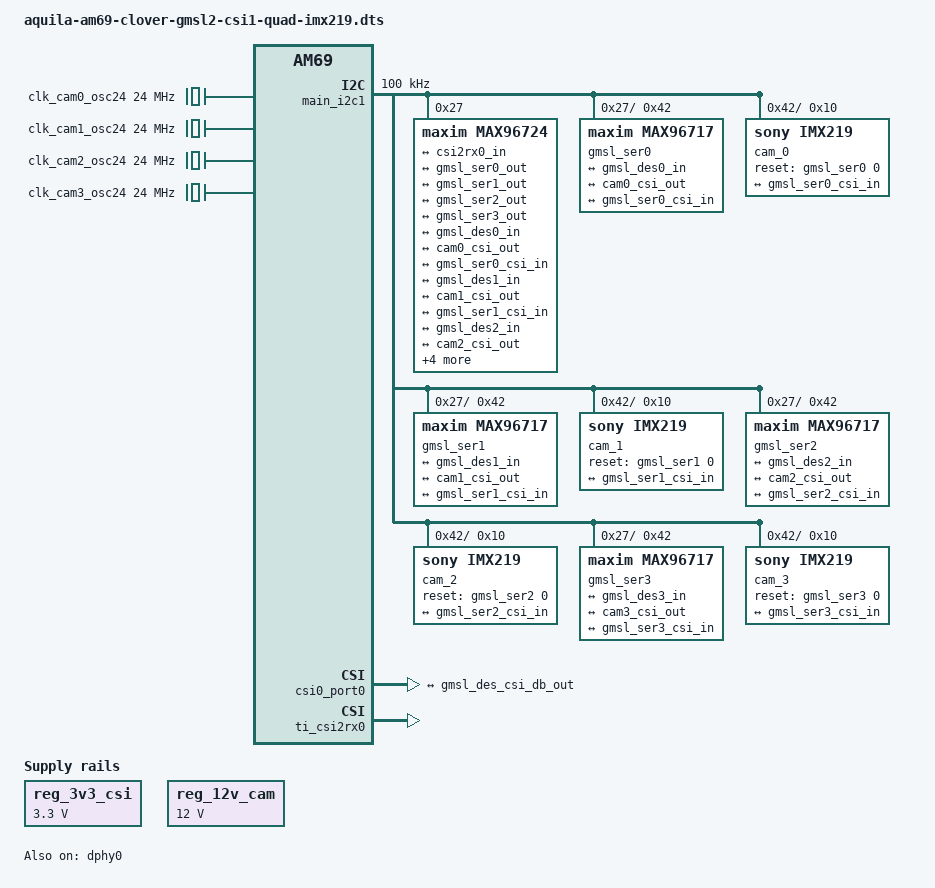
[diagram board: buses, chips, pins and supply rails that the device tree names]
// SPDX-License-Identifier: GPL-2.0-or-later OR MIT
/*
 * Aquila AM69 Quad IMX219 over GMSL2 (CSI1)
 */


/dts-v1/;
/plugin/;

#include <dt-bindings/gpio/gpio.h>
#include <dt-bindings/media/video-interfaces.h>

#include <dt-bindings/mux/mux.h>
#include <dt-bindings/phy/phy.h>
#include <dt-bindings/phy/phy-cadence.h>
#include <dt-bindings/phy/phy-ti.h>

/ {
	compatible = "toradex,aquila-am69";
};

&{/} {
	clk_cam0_osc24: clk-cam0-osc24 {
		compatible = "fixed-clock";
		#clock-cells = <0>;
		clock-frequency = <24000000>;
	};

	clk_cam1_osc24: clk-cam1-osc24 {
		compatible = "fixed-clock";
		#clock-cells = <0>;
		clock-frequency = <24000000>;
	};

	clk_cam2_osc24: clk-cam2-osc24 {
		compatible = "fixed-clock";
		#clock-cells = <0>;
		clock-frequency = <24000000>;
	};

	clk_cam3_osc24: clk-cam3-osc24 {
		compatible = "fixed-clock";
		#clock-cells = <0>;
		clock-frequency = <24000000>;
	};

	reg_3v3_csi: regulator-3v3-csi {
		compatible = "regulator-fixed";
		regulator-name = "V_CSI";
		regulator-min-microvolt = <3300000>;
		regulator-max-microvolt = <3300000>;
	};

	reg_12v_cam: regulator-12v-cam {
		compatible = "regulator-fixed";
		regulator-name = "V_12V_IN";
		regulator-min-microvolt = <12000000>;
		regulator-max-microvolt = <12000000>;
	};
};

&main_i2c1 {
	#address-cells = <1>;
	#size-cells = <0>;
	status = "okay";

	clock-frequency = <100000>; 

	max96724: gmsl-deserializer@27 {
		compatible = "maxim,max96724";
		reg = <0x27>;
	};
};

&max96724 {
	i2c-alias-pool = <0x42 0x43 0x44 0x45>;
	
	ports {
		#address-cells = <1>;
		#size-cells = <0>;
		
		port@6 {
			reg = <6>;
			
			gmsl_des_csi_db_out: endpoint {
				remote-endpoint = <&csi2rx0_in>;
				clock-lanes = <0>;
				data-lanes = <1 2 3 4>;
				lane-polarities = <0 1 0 1 0>;
				link-frequencies = /bits/ 64 <700000000>;
			};
		};
	};
};

&max96724 {
	ports {
		#address-cells = <1>;
		#size-cells = <0>;

		port@0 {
			reg = <0>;

			gmsl_des0_in: endpoint {
				remote-endpoint = <&gmsl_ser0_out>;
			};
		};
		
		port@1 {
			reg = <1>;

			gmsl_des1_in: endpoint {
				remote-endpoint = <&gmsl_ser1_out>;
			};
		};

		port@2 {
			reg = <2>;

			gmsl_des2_in: endpoint {
				remote-endpoint = <&gmsl_ser2_out>;
			};
		};

		port@3 {
			reg = <3>;

			gmsl_des3_in: endpoint {
				remote-endpoint = <&gmsl_ser3_out>;
			};
		};
	};

	i2c-atr {
		#address-cells = <1>;
		#size-cells = <0>;

		i2c@0 {
			reg  = <0x0>;
			#address-cells = <1>;
			#size-cells = <0>;

			gmsl_ser0: gmsl-serializer@42 {
				compatible = "maxim,max96717";
				reg = <0x42>;
				#gpio-cells = <2>;
				gpio-controller;
				gpio-ranges = <&gmsl_ser0 0 0 11>;

				ports {
					#address-cells = <1>;
					#size-cells = <0>;

					port@1 {
						reg = <1>;

						gmsl_ser0_out: endpoint {
							remote-endpoint = <&gmsl_des0_in>;
						};
					};
				};
			};
		};
		
		i2c@1 {
			reg  = <0x01>;
			#address-cells = <1>;
			#size-cells = <0>;

			gmsl_ser1: gmsl-serializer@42 {
				compatible = "maxim,max96717";
				reg = <0x42>;
				#gpio-cells = <2>;
				gpio-controller;
				gpio-ranges = <&gmsl_ser1 0 0 11>;

				ports {
					#address-cells = <1>;
					#size-cells = <0>;

					port@1 {
						reg = <1>;

						gmsl_ser1_out: endpoint {
							remote-endpoint = <&gmsl_des1_in>;
						};
					};
				};
			};
		};

		i2c@2 {
			reg  = <0x02>;
			#address-cells = <1>;
			#size-cells = <0>;

			gmsl_ser2: gmsl-serializer@42 {
				compatible = "maxim,max96717";
				reg = <0x42>;
				#gpio-cells = <2>;
				gpio-controller;
				gpio-ranges = <&gmsl_ser2 0 0 11>;

				ports {
					#address-cells = <1>;
					#size-cells = <0>;

					port@1 {
						reg = <1>;

						gmsl_ser2_out: endpoint {
							remote-endpoint = <&gmsl_des2_in>;
						};
					};
				};
			};
		};

		i2c@3 {
			reg  = <0x03>;
			#address-cells = <1>;
			#size-cells = <0>;

			gmsl_ser3: gmsl-serializer@42 {
				compatible = "maxim,max96717";
				reg = <0x42>;
				#gpio-cells = <2>;
				gpio-controller;
				gpio-ranges = <&gmsl_ser3 0 0 11>;

				ports {
					#address-cells = <1>;
					#size-cells = <0>;

					port@1 {
						reg = <1>;

						gmsl_ser3_out: endpoint {
							remote-endpoint = <&gmsl_des3_in>;
						};
					};
				};
			};
		};
	};
};

&gmsl_ser0 {
	status = "okay";

	i2c-alias-pool = <0x50 0x51>;

	i2c-atr {
		status = "okay";
		#address-cells = <1>;
		#size-cells = <0>;

		
		gmsl_ser0_i2c_0: i2c@0 {
			status = "okay";
			#address-cells = <1>;
			#size-cells = <0>;
			reg = <0x0>;
		};
	};

	ports {
		#address-cells = <1>;
		#size-cells = <0>;

		port@0 {
			reg = <0>;

			gmsl_ser0_csi_in: endpoint {
				remote-endpoint = <&cam0_csi_out>;
				clock-lanes = <0>;
				data-lanes = <1 2>;
				lane-polarities = <1 1 1>;
				link-frequencies = /bits/ 64 <500000000>;
			};
		};
	};
};

&gmsl_ser1 {
	status = "okay";

	i2c-alias-pool = <0x52 0x53>;

	i2c-atr {
		status = "okay";
		#address-cells = <1>;
		#size-cells = <0>;

		gmsl_ser1_i2c_0: i2c@0 {
			status = "okay";
			#address-cells = <1>;
			#size-cells = <0>;
			reg = <0x0>;
		};
	};

	ports {
		#address-cells = <1>;
		#size-cells = <0>;

		port@0 {
			reg = <0>;

			gmsl_ser1_csi_in: endpoint {
				remote-endpoint = <&cam1_csi_out>;
				clock-lanes = <0>;
				data-lanes = <1 2>;
				lane-polarities = <1 1 1>;
				link-frequencies = /bits/ 64 <500000000>;
			};
		};
	};
};

&gmsl_ser2 {
	status = "okay";

	i2c-alias-pool = <0x54 0x55>;

	i2c-atr {
		status = "okay";
		#address-cells = <1>;
		#size-cells = <0>;

		
		gmsl_ser2_i2c_0: i2c@0 {
			status = "okay";
			#address-cells = <1>;
			#size-cells = <0>;
			reg = <0x0>;
		};
	};

	ports {
		#address-cells = <1>;
		#size-cells = <0>;

		port@0 {
			reg = <0>;

			gmsl_ser2_csi_in: endpoint {
				remote-endpoint = <&cam2_csi_out>;
				clock-lanes = <0>;
				data-lanes = <1 2>;
				lane-polarities = <1 1 1>;
				link-frequencies = /bits/ 64 <500000000>;
			};
		};
	};
};

&gmsl_ser3 {
	status = "okay";

	i2c-alias-pool = <0x56 0x57>;

	i2c-atr {
		status = "okay";
		#address-cells = <1>;
		#size-cells = <0>;

		
		gmsl_ser3_i2c_0: i2c@0 {
			status = "okay";
			#address-cells = <1>;
			#size-cells = <0>;
			reg = <0x0>;
		};
	};

	ports {
		#address-cells = <1>;
		#size-cells = <0>;

		port@0 {
			reg = <0>;

			gmsl_ser3_csi_in: endpoint {
				remote-endpoint = <&cam3_csi_out>;
				clock-lanes = <0>;
				data-lanes = <1 2>;
				lane-polarities = <1 1 1>;
				link-frequencies = /bits/ 64 <500000000>;
			};
		};
	};
};

&gmsl_ser0_i2c_0 {
	cam_0: imx219@10 {
		status = "okay";
		compatible = "sony,imx219";
		reg = <0x10>;
		clocks = <&clk_cam0_osc24>;
		clock-names = "xclk";

		reset-gpios = <&gmsl_ser0 0 GPIO_ACTIVE_HIGH>;

		vc = <0>;

		port {
			cam0_csi_out: endpoint {
				remote-endpoint = <&gmsl_ser0_csi_in>;
				clock-lanes = <0>;
				data-lanes = <1 2>;
				link-frequencies = /bits/ 64 <456000000>;
				clock-noncontinuous;
			};
		};
	};
};

&gmsl_ser1_i2c_0 {
	cam_1: imx210@10 {
		status = "okay";
		compatible = "sony,imx219";
		reg = <0x10>;
		clocks = <&clk_cam1_osc24>;
		clock-names = "xclk";

		reset-gpios = <&gmsl_ser1 0 GPIO_ACTIVE_HIGH>;

		vc = <1>;

		port {
			cam1_csi_out: endpoint {
				remote-endpoint = <&gmsl_ser1_csi_in>;
				clock-lanes = <0>;
				data-lanes = <1 2>;
				link-frequencies = /bits/ 64 <456000000>;
				clock-noncontinuous;
			};
		};
	};
};

&gmsl_ser2_i2c_0 {
	cam_2: imx219@10 {
		status = "okay";
		compatible = "sony,imx219";
		reg = <0x10>;
		clocks = <&clk_cam2_osc24>;
		clock-names = "xclk";

		reset-gpios = <&gmsl_ser2 0 GPIO_ACTIVE_HIGH>;

		vc = <2>;

		port {
			cam2_csi_out: endpoint {
				remote-endpoint = <&gmsl_ser2_csi_in>;
				clock-lanes = <0>;
				data-lanes = <1 2>;
				link-frequencies = /bits/ 64 <456000000>;
				clock-noncontinuous;
			};
		};
	};
};

&gmsl_ser3_i2c_0 {
	cam_3: imx210@10 {
		status = "okay";
		compatible = "sony,imx219";
		reg = <0x10>;
		clocks = <&clk_cam3_osc24>;
		clock-names = "xclk";

		reset-gpios = <&gmsl_ser3 0 GPIO_ACTIVE_HIGH>;

		vc = <3>;

		port {
			cam3_csi_out: endpoint {
				remote-endpoint = <&gmsl_ser3_csi_in>;
				clock-lanes = <0>;
				data-lanes = <1 2>;
				link-frequencies = /bits/ 64 <456000000>;
				clock-noncontinuous;
			};
		};
	};
};

&csi0_port0 {
	status = "okay";

	csi2rx0_in: endpoint {
		remote-endpoint = <&gmsl_des_csi_db_out>;
		clock-lanes = <0>;
		data-lanes = <1 2 3 4>;
		link-frequencies = /bits/ 64 <700000000>;
	};
};

&dphy0 {
	status = "okay";
};

&ti_csi2rx0 {
	status = "okay";
};
